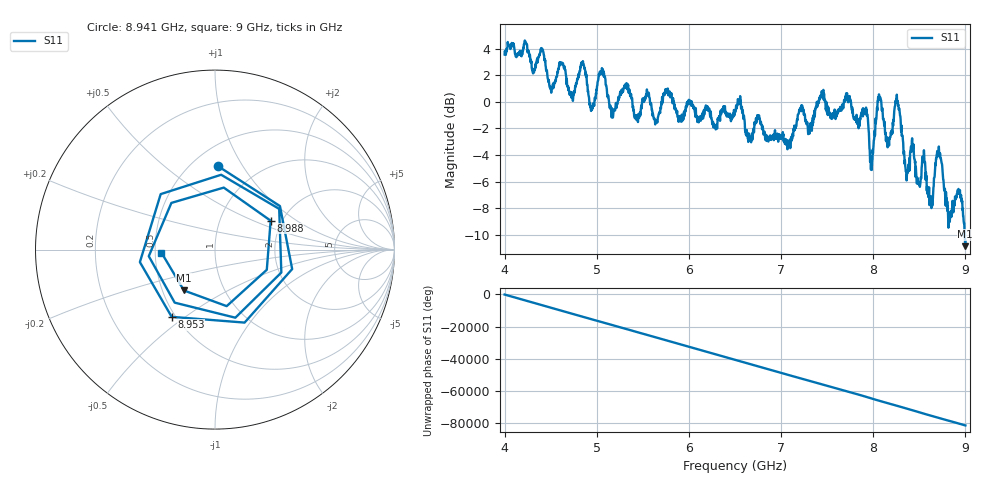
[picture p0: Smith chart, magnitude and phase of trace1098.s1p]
! Created with skrf 1.8.0 (http://scikit-rf.org).
# Hz S RI R 50.0
!freq ReS11 ImS11
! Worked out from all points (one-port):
!   1601 points, 4 GHz to 9 GHz, reference 50 ohm
!   lowest |S11| = -10.9 dB at 8.997 GHz (marker M1), VSWR 1.80, Z = 32.2 - j16 ohm
!   |S11| at or under -10 dB: 8.990484 GHz to 8.992645 GHz (2.161 MHz wide, 0.024 % of centre); 8.994435 GHz to end of sweep
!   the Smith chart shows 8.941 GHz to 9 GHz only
!   S11 on the Smith chart (normalised r, x): 8.941 GHz: 0.66, +0.79; 8.953 GHz: 0.48, -0.45; 8.988 GHz: 1.75, +0.64; 9 GHz: 0.54, -0.02
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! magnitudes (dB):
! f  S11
! 4 GHz  3.6
! 4.509 GHz  1.0
! 4.625 GHz  3.0
! 4.725 GHz  0.3
! 4.85 GHz  3.1
! 4.947 GHz  -0.6
! 5.047 GHz  2.3
! 5.162 GHz  -1.2
! 5.25 GHz  0.5
! 5.875 GHz  -1.1
! 6.5 GHz  -0.6
! 7.125 GHz  -2.4
! 7.75 GHz  0.2
! 7.916 GHz  -0.8
! 7.981 GHz  -4.6
! 8.062 GHz  0.6
! 8.162 GHz  -3.2
! 8.259 GHz  0.0
! 8.375 GHz  -5.1
! 8.55 GHz  -3.6
! 8.622 GHz  -7.7
! 8.712 GHz  -3.4
! 8.825 GHz  -8.9
! 8.941 GHz  -6.6
! 8.953 GHz  -7.0
! 8.988 GHz  -9.1
! 8.997 GHz  -10.9
! 9 GHz  -10.5
